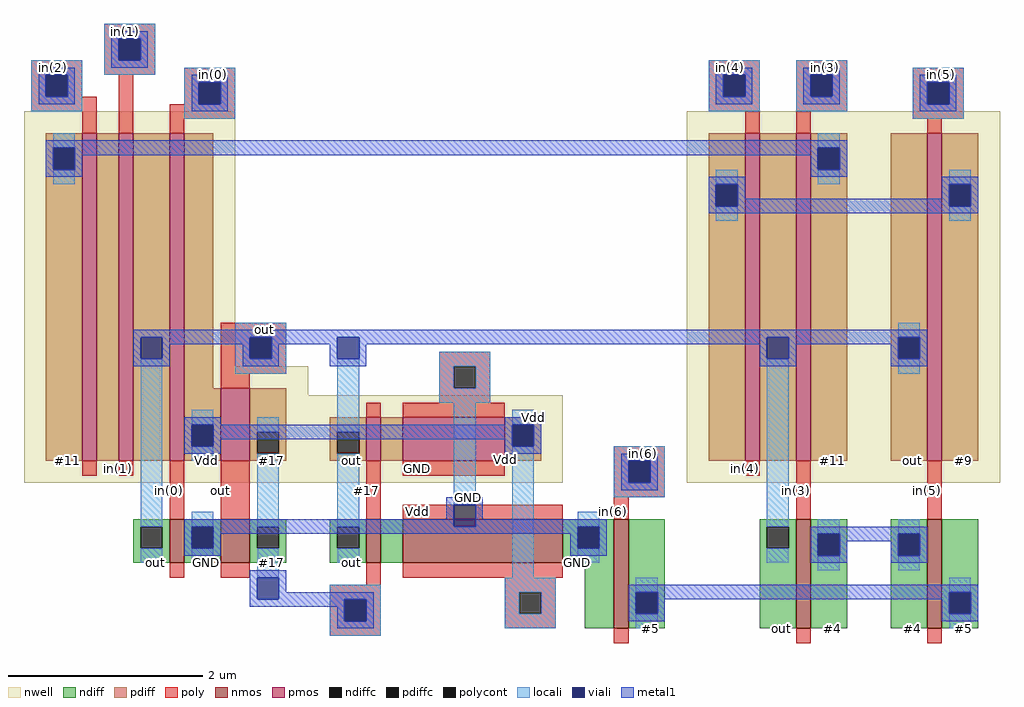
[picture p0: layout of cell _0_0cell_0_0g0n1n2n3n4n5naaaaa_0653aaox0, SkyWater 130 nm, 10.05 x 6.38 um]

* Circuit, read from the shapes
.subckt _0_0cell_0_0g0n1n2n3n4n5naaaaa_0653aaox0 GND Vdd in(6) in(5) in(4) in(3) in(2) in(1) out in(0)
XM1 GND in(0) out VSUBS sky130_fd_pr__nfet_01v8 w=0.45 l=0.15
XM2 #17 out GND VSUBS sky130_fd_pr__nfet_01v8 w=0.45 l=0.3
XM3 n1 #17 out VSUBS sky130_fd_pr__nfet_01v8 w=0.45 l=0.15
XM4 GND Vdd n1 VSUBS sky130_fd_pr__nfet_01v8 w=0.45 l=1.65
XM5 #5 in(6) GND VSUBS sky130_fd_pr__nfet_01v8 w=1.125 l=0.15
XM6 #4 in(3) out VSUBS sky130_fd_pr__nfet_01v8 w=1.125 l=0.15
XM7 #5 in(5) #4 VSUBS sky130_fd_pr__nfet_01v8 w=1.125 l=0.15
XM8 n2 in(2) #11 n3 sky130_fd_pr__pfet_01v8 w=3.375 l=0.15
XM9 n4 in(1) n2 n3 sky130_fd_pr__pfet_01v8 w=3.375 l=0.15
XM10 Vdd in(0) n4 n3 sky130_fd_pr__pfet_01v8 w=3.375 l=0.15
XM11 #17 out Vdd n3 sky130_fd_pr__pfet_01v8 w=0.75 l=0.3
XM12 n5 #17 out n3 sky130_fd_pr__pfet_01v8 w=0.45 l=0.15
XM13 Vdd GND n5 n3 sky130_fd_pr__pfet_01v8 w=0.45 l=1.05
XM14 n6 in(4) #9 n7 sky130_fd_pr__pfet_01v8 w=3.375 l=0.15
XM15 #11 in(3) n6 n7 sky130_fd_pr__pfet_01v8 w=3.375 l=0.15
XM16 #9 in(5) out n7 sky130_fd_pr__pfet_01v8 w=3.375 l=0.15
.ends

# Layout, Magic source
magic
tech sky130A
magscale 1 2
<< nwell >>
rect 75 615 510 1140
rect 75 555 660 615
rect 75 375 1185 555
rect 1440 375 2085 1140
<< nmos >>
rect 375 210 405 300
rect 480 210 540 300
rect 780 210 810 300
rect 855 210 1185 300
rect 1290 75 1320 300
rect 1665 75 1695 300
rect 1935 75 1965 300
<< pmos >>
rect 195 420 225 1095
rect 270 420 300 1095
rect 375 420 405 1095
rect 480 420 540 570
rect 780 420 810 510
rect 855 420 1065 510
rect 1560 420 1590 1095
rect 1665 420 1695 1095
rect 1935 420 1965 1095
<< ndiff >>
rect 300 285 375 300
rect 300 240 315 285
rect 360 240 375 285
rect 300 210 375 240
rect 405 285 480 300
rect 405 240 420 285
rect 465 240 480 285
rect 405 210 480 240
rect 540 285 615 300
rect 540 240 555 285
rect 600 240 615 285
rect 540 210 615 240
rect 705 285 780 300
rect 705 240 720 285
rect 765 240 780 285
rect 705 210 780 240
rect 810 210 855 300
rect 1185 285 1290 300
rect 1185 240 1215 285
rect 1260 240 1290 285
rect 1185 210 1290 240
rect 1230 75 1290 210
rect 1320 150 1395 300
rect 1320 105 1335 150
rect 1380 105 1395 150
rect 1320 75 1395 105
rect 1590 285 1665 300
rect 1590 240 1605 285
rect 1650 240 1665 285
rect 1590 75 1665 240
rect 1695 270 1770 300
rect 1695 225 1710 270
rect 1755 225 1770 270
rect 1695 75 1770 225
rect 1860 270 1935 300
rect 1860 225 1875 270
rect 1920 225 1935 270
rect 1860 75 1935 225
rect 1965 150 2040 300
rect 1965 105 1980 150
rect 2025 105 2040 150
rect 1965 75 2040 105
<< pdiff >>
rect 120 1065 195 1095
rect 120 1020 135 1065
rect 180 1020 195 1065
rect 120 420 195 1020
rect 225 420 270 1095
rect 300 420 375 1095
rect 405 570 465 1095
rect 1485 990 1560 1095
rect 1485 945 1500 990
rect 1545 945 1560 990
rect 405 495 480 570
rect 405 450 420 495
rect 465 450 480 495
rect 405 420 480 450
rect 540 480 615 570
rect 540 435 555 480
rect 600 435 615 480
rect 540 420 615 435
rect 705 480 780 510
rect 705 435 720 480
rect 765 435 780 480
rect 705 420 780 435
rect 810 420 855 510
rect 1065 495 1140 510
rect 1065 450 1080 495
rect 1125 450 1140 495
rect 1065 420 1140 450
rect 1485 420 1560 945
rect 1590 420 1665 1095
rect 1695 1065 1770 1095
rect 1695 1020 1710 1065
rect 1755 1020 1770 1065
rect 1695 420 1770 1020
rect 1860 675 1935 1095
rect 1860 630 1875 675
rect 1920 630 1935 675
rect 1860 420 1935 630
rect 1965 990 2040 1095
rect 1965 945 1980 990
rect 2025 945 2040 990
rect 1965 420 2040 945
<< ndiffc >>
rect 315 240 360 285
rect 420 240 465 285
rect 555 240 600 285
rect 720 240 765 285
rect 1215 240 1260 285
rect 1335 105 1380 150
rect 1605 240 1650 285
rect 1710 225 1755 270
rect 1875 225 1920 270
rect 1980 105 2025 150
<< pdiffc >>
rect 135 1020 180 1065
rect 1500 945 1545 990
rect 420 450 465 495
rect 555 435 600 480
rect 720 435 765 480
rect 1080 450 1125 495
rect 1710 1020 1755 1065
rect 1875 630 1920 675
rect 1980 945 2025 990
<< poly >>
rect 240 1290 345 1320
rect 240 1245 270 1290
rect 315 1245 345 1290
rect 90 1215 195 1245
rect 240 1215 345 1245
rect 90 1170 120 1215
rect 165 1170 195 1215
rect 90 1140 225 1170
rect 195 1095 225 1140
rect 270 1095 300 1215
rect 405 1200 510 1230
rect 405 1155 435 1200
rect 480 1155 510 1200
rect 375 1125 510 1155
rect 1485 1215 1590 1245
rect 1485 1170 1515 1215
rect 1560 1170 1590 1215
rect 1485 1140 1590 1170
rect 375 1095 405 1125
rect 1560 1095 1590 1140
rect 1665 1215 1770 1245
rect 1665 1170 1695 1215
rect 1740 1170 1770 1215
rect 1665 1140 1770 1170
rect 1905 1200 2010 1230
rect 1905 1155 1935 1200
rect 1980 1155 2010 1200
rect 1665 1095 1695 1140
rect 1905 1125 2010 1155
rect 1935 1095 1965 1125
rect 480 675 615 705
rect 480 630 540 675
rect 585 630 615 675
rect 480 600 615 630
rect 930 615 1035 645
rect 480 570 540 600
rect 930 570 960 615
rect 1005 570 1035 615
rect 930 540 1035 570
rect 780 510 810 540
rect 855 510 1065 540
rect 1290 420 1395 450
rect 195 390 225 420
rect 270 390 300 420
rect 375 300 405 420
rect 480 300 540 420
rect 780 300 810 420
rect 855 390 1065 420
rect 1290 375 1320 420
rect 1365 375 1395 420
rect 1560 390 1590 420
rect 1290 345 1395 375
rect 855 300 1185 330
rect 1290 300 1320 345
rect 1665 300 1695 420
rect 1935 300 1965 420
rect 375 180 405 210
rect 480 180 540 210
rect 780 165 810 210
rect 855 180 1185 210
rect 705 135 810 165
rect 705 90 735 135
rect 780 90 810 135
rect 705 60 810 90
rect 1065 150 1170 180
rect 1065 105 1095 150
rect 1140 105 1170 150
rect 1065 75 1170 105
rect 1290 45 1320 75
rect 1665 45 1695 75
rect 1935 45 1965 75
<< polycont >>
rect 270 1245 315 1290
rect 120 1170 165 1215
rect 435 1155 480 1200
rect 1515 1170 1560 1215
rect 1695 1170 1740 1215
rect 1935 1155 1980 1200
rect 540 630 585 675
rect 960 570 1005 615
rect 1320 375 1365 420
rect 735 90 780 135
rect 1095 105 1140 150
<< locali >>
rect 240 1290 345 1320
rect 240 1245 270 1290
rect 315 1245 345 1290
rect 90 1215 195 1245
rect 240 1215 345 1245
rect 90 1170 120 1215
rect 165 1170 195 1215
rect 90 1140 195 1170
rect 405 1200 510 1230
rect 405 1155 435 1200
rect 480 1155 510 1200
rect 405 1125 510 1155
rect 1485 1215 1590 1245
rect 1485 1170 1515 1215
rect 1560 1170 1590 1215
rect 1485 1140 1590 1170
rect 1665 1215 1770 1245
rect 1665 1170 1695 1215
rect 1740 1170 1770 1215
rect 1665 1140 1770 1170
rect 1905 1200 2010 1230
rect 1905 1155 1935 1200
rect 1980 1155 2010 1200
rect 1905 1125 2010 1155
rect 135 1065 180 1095
rect 1710 1065 1755 1095
rect 135 990 180 1020
rect 1500 990 1545 1020
rect 1710 990 1755 1020
rect 1980 990 2025 1020
rect 1500 915 1545 945
rect 1980 915 2025 945
rect 510 675 615 705
rect 1875 675 1920 705
rect 315 285 360 630
rect 510 630 540 675
rect 585 630 615 675
rect 510 600 615 630
rect 420 495 465 525
rect 420 420 465 450
rect 555 480 600 510
rect 315 210 360 240
rect 420 285 465 315
rect 420 210 465 240
rect 555 285 600 435
rect 555 180 600 240
rect 720 480 765 630
rect 930 615 1035 645
rect 930 570 960 615
rect 1005 570 1035 615
rect 930 540 1035 570
rect 720 285 765 435
rect 960 330 1005 540
rect 1080 495 1125 525
rect 720 210 765 240
rect 1080 180 1125 450
rect 1290 420 1395 450
rect 1290 375 1320 420
rect 1365 375 1395 420
rect 1290 345 1395 375
rect 1215 285 1260 315
rect 1215 210 1260 240
rect 1605 285 1650 630
rect 1875 600 1920 630
rect 1605 210 1650 240
rect 1710 270 1755 300
rect 1710 195 1755 225
rect 1875 270 1920 300
rect 1875 195 1920 225
rect 705 135 810 165
rect 705 90 735 135
rect 780 90 810 135
rect 705 60 810 90
rect 1065 150 1170 180
rect 1065 105 1095 150
rect 1140 105 1170 150
rect 1065 75 1170 105
rect 1335 150 1380 180
rect 1335 75 1380 105
rect 1980 150 2025 180
rect 1980 75 2025 105
<< viali >>
rect 270 1245 315 1290
rect 120 1170 165 1215
rect 435 1155 480 1200
rect 1515 1170 1560 1215
rect 1695 1170 1740 1215
rect 1935 1155 1980 1200
rect 135 1020 180 1065
rect 1710 1020 1755 1065
rect 1500 945 1545 990
rect 1980 945 2025 990
rect 315 630 360 675
rect 540 630 585 675
rect 720 630 765 675
rect 420 450 465 495
rect 420 240 465 285
rect 1605 630 1650 675
rect 960 285 1005 330
rect 1080 450 1125 495
rect 1320 375 1365 420
rect 1215 240 1260 285
rect 1875 630 1920 675
rect 1710 225 1755 270
rect 1875 225 1920 270
rect 555 135 600 180
rect 735 90 780 135
rect 1335 105 1380 150
rect 1980 105 2025 150
<< metal1 >>
rect 255 1290 330 1305
rect 255 1245 270 1290
rect 315 1245 330 1290
rect 255 1230 330 1245
rect 105 1215 180 1230
rect 1500 1215 1575 1230
rect 105 1170 120 1215
rect 165 1170 180 1215
rect 105 1155 180 1170
rect 420 1200 495 1215
rect 420 1155 435 1200
rect 480 1155 495 1200
rect 1500 1170 1515 1215
rect 1560 1170 1575 1215
rect 1500 1155 1575 1170
rect 1680 1215 1755 1230
rect 1680 1170 1695 1215
rect 1740 1170 1755 1215
rect 1680 1155 1755 1170
rect 1920 1200 1995 1215
rect 1920 1155 1935 1200
rect 1980 1155 1995 1200
rect 420 1140 495 1155
rect 1920 1140 1995 1155
rect 120 1065 1770 1080
rect 120 1020 135 1065
rect 180 1050 1710 1065
rect 180 1020 195 1050
rect 120 1005 195 1020
rect 1695 1020 1710 1050
rect 1755 1020 1770 1065
rect 1695 1005 1770 1020
rect 1485 990 1560 1005
rect 1485 945 1500 990
rect 1545 960 1560 990
rect 1965 990 2040 1005
rect 1965 960 1980 990
rect 1545 945 1980 960
rect 2025 945 2040 990
rect 1485 930 2040 945
rect 300 675 1935 690
rect 300 630 315 675
rect 360 660 540 675
rect 360 630 375 660
rect 300 615 375 630
rect 525 630 540 660
rect 585 660 720 675
rect 585 630 600 660
rect 525 615 600 630
rect 705 630 720 660
rect 765 660 1605 675
rect 765 630 780 660
rect 705 615 780 630
rect 1590 630 1605 660
rect 1650 660 1875 675
rect 1650 630 1665 660
rect 1590 615 1665 630
rect 1860 630 1875 660
rect 1920 630 1935 675
rect 1860 615 1935 630
rect 405 495 480 510
rect 1065 495 1140 510
rect 405 450 420 495
rect 465 465 1080 495
rect 465 450 480 465
rect 405 435 480 450
rect 1065 450 1080 465
rect 1125 450 1140 495
rect 1065 435 1140 450
rect 1305 420 1380 435
rect 1305 375 1320 420
rect 1365 375 1380 420
rect 1305 360 1380 375
rect 945 330 1020 345
rect 945 300 960 330
rect 405 285 960 300
rect 1005 300 1020 330
rect 1005 285 1275 300
rect 405 240 420 285
rect 465 270 1215 285
rect 465 240 480 270
rect 405 225 480 240
rect 1200 240 1215 270
rect 1260 240 1275 285
rect 1200 225 1275 240
rect 1695 270 1935 285
rect 1695 225 1710 270
rect 1755 255 1875 270
rect 1755 225 1770 255
rect 1695 210 1770 225
rect 1860 225 1875 255
rect 1920 225 1935 270
rect 1860 210 1935 225
rect 540 180 615 195
rect 540 135 555 180
rect 600 150 615 180
rect 1320 150 2040 165
rect 600 135 795 150
rect 540 120 735 135
rect 720 90 735 120
rect 780 90 795 135
rect 1320 105 1335 150
rect 1380 135 1980 150
rect 1380 105 1395 135
rect 1320 90 1395 105
rect 1965 105 1980 135
rect 2025 105 2040 150
rect 1965 90 2040 105
rect 720 75 795 90
<< labels >>
rlabel pdiff 1067 422 1067 422 3 Vdd
flabel pdiff 165 420 165 420 1 FreeSerif 120 0 0 0 #11
flabel poly 195 405 195 405 3 FreeSerif 120 0 0 0 in(2)
flabel poly 270 405 270 405 3 FreeSerif 120 0 0 0 in(1)
flabel poly 375 360 375 360 3 FreeSerif 120 0 0 0 in(0)
flabel poly 480 360 480 360 3 FreeSerif 120 0 0 0 out
flabel pdiff 450 420 450 420 1 FreeSerif 120 0 0 0 Vdd
flabel pdiff 585 420 585 420 1 FreeSerif 120 0 0 0 #17
flabel poly 780 360 780 360 3 FreeSerif 120 0 0 0 #17
flabel pdiff 750 420 750 420 1 FreeSerif 120 0 0 0 out
flabel poly 885 405 885 405 3 FreeSerif 120 0 0 0 GND
flabel poly 885 315 885 315 3 FreeSerif 120 0 0 0 Vdd
flabel pdiff 1110 420 1110 420 1 FreeSerif 120 0 0 0 Vdd
flabel poly 1290 315 1290 315 3 FreeSerif 120 0 0 0 in(6)
flabel poly 1560 405 1560 405 3 FreeSerif 120 0 0 0 in(4)
flabel pdiff 1530 420 1530 420 1 FreeSerif 120 0 0 0 #9
flabel pdiff 1740 420 1740 420 1 FreeSerif 120 0 0 0 #11
flabel poly 1665 360 1665 360 3 FreeSerif 120 0 0 0 in(3)
flabel poly 1935 360 1935 360 3 FreeSerif 120 0 0 0 in(5)
flabel pdiff 2010 420 2010 420 1 FreeSerif 120 0 0 0 #9
flabel pdiff 1905 420 1905 420 1 FreeSerif 120 0 0 0 out
flabel ndiff 1905 75 1905 75 1 FreeSerif 120 0 0 0 #4
flabel ndiff 1740 75 1740 75 1 FreeSerif 120 0 0 0 #4
flabel ndiff 1635 75 1635 75 1 FreeSerif 120 0 0 0 out
flabel ndiff 1365 75 1365 75 1 FreeSerif 120 0 0 0 #5
flabel ndiff 1215 210 1215 210 1 FreeSerif 120 0 0 0 GND
flabel ndiff 750 210 750 210 1 FreeSerif 120 0 0 0 out
flabel ndiff 345 210 345 210 1 FreeSerif 120 0 0 0 out
flabel ndiff 450 210 450 210 1 FreeSerif 120 0 0 0 GND
flabel ndiff 585 210 585 210 1 FreeSerif 120 0 0 0 #17
flabel ndiff 2010 75 2010 75 1 FreeSerif 120 0 0 0 #5
flabel metal1 990 345 990 345 1 FreeSerif 120 0 0 0 GND
port 1 n
flabel metal1 1125 510 1125 510 1 FreeSerif 120 0 0 0 Vdd
port 2 n
flabel metal1 1350 435 1350 435 1 FreeSerif 120 0 0 0 in(6)
port 3 n
flabel metal1 1965 1215 1965 1215 1 FreeSerif 120 0 0 0 in(5)
port 4 n
flabel metal1 1530 1230 1530 1230 1 FreeSerif 120 0 0 0 in(4)
port 5 n
flabel metal1 1725 1230 1725 1230 1 FreeSerif 120 0 0 0 in(3)
port 6 n
flabel metal1 135 1230 135 1230 1 FreeSerif 120 0 0 0 in(2)
port 7 n
flabel metal1 285 1305 285 1305 1 FreeSerif 120 0 0 0 in(1)
port 8 n
flabel metal1 570 690 570 690 1 FreeSerif 120 0 0 0 out
port 9 n
flabel metal1 465 1215 465 1215 1 FreeSerif 120 0 0 0 in(0)
port 10 n
<< end >>
